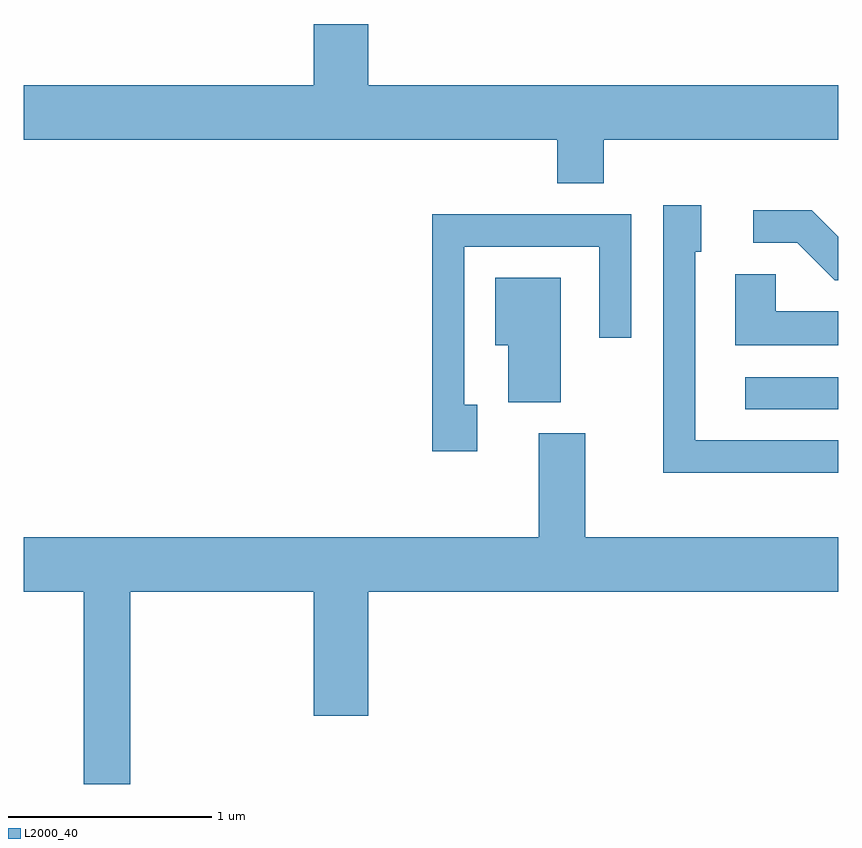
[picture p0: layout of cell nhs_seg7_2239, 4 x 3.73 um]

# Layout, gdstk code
import gdstk
lib = gdstk.Library(unit=1e-6, precision=1e-09)
def R(c, l, rs):  # rectangles x0, y0, x1, y1
    for r in rs: c.add(gdstk.rectangle(r[:2], r[2:], *l))
def P(c, l, *ps):  # polygons
    for p in ps: c.add(gdstk.Polygon(p, *l))
L2000_40 = (2000, 40)

nhs_seg7_2239 = lib.new_cell('nhs_seg7_2239')
R(nhs_seg7_2239, L2000_40, [(257.153,1724.091,257.611,1724.249)])
P(nhs_seg7_2239, L2000_40, [(256.459,1725.416),(257.611,1725.416),(257.611,1725.684),(255.304,1725.684),(255.304,1725.984),(255.036,1725.984),(255.036,1725.684),(253.611,1725.684),(253.611,1725.416),(256.231,1725.416),(256.231,1725.201),(256.459,1725.201)],
  [(257.611,1723.939),(256.909,1723.939),(256.909,1724.866),(256.939,1724.866),(256.939,1725.094),(256.751,1725.094),(256.751,1723.781),(257.611,1723.781)],
  [(257.611,1724.939),(257.481,1725.069),(257.193,1725.069),(257.193,1724.911),(257.409,1724.911),(257.594,1724.726),(257.611,1724.726)],
  [(255.839,1724.114),(255.774,1724.114),(255.774,1724.891),(256.436,1724.891),(256.436,1724.443),(256.594,1724.443),(256.594,1725.049),(255.616,1725.049),(255.616,1723.886),(255.839,1723.886)],
  [(257.611,1724.574),(257.304,1724.574),(257.304,1724.754),(257.106,1724.754),(257.106,1724.406),(257.611,1724.406)],
  [(256.249,1724.739),(255.926,1724.739),(255.926,1724.406),(255.991,1724.406),(255.991,1724.126),(256.249,1724.126)],
  [(254.134,1723.196),(255.036,1723.196),(255.036,1722.586),(255.304,1722.586),(255.304,1723.196),(257.611,1723.196),(257.611,1723.464),(256.369,1723.464),(256.369,1723.974),(256.141,1723.974),(256.141,1723.464),(253.611,1723.464),(253.611,1723.196),(253.906,1723.196),(253.906,1722.252),(254.134,1722.252)])

lib.write_gds('nhs_seg7_2239.gds')
